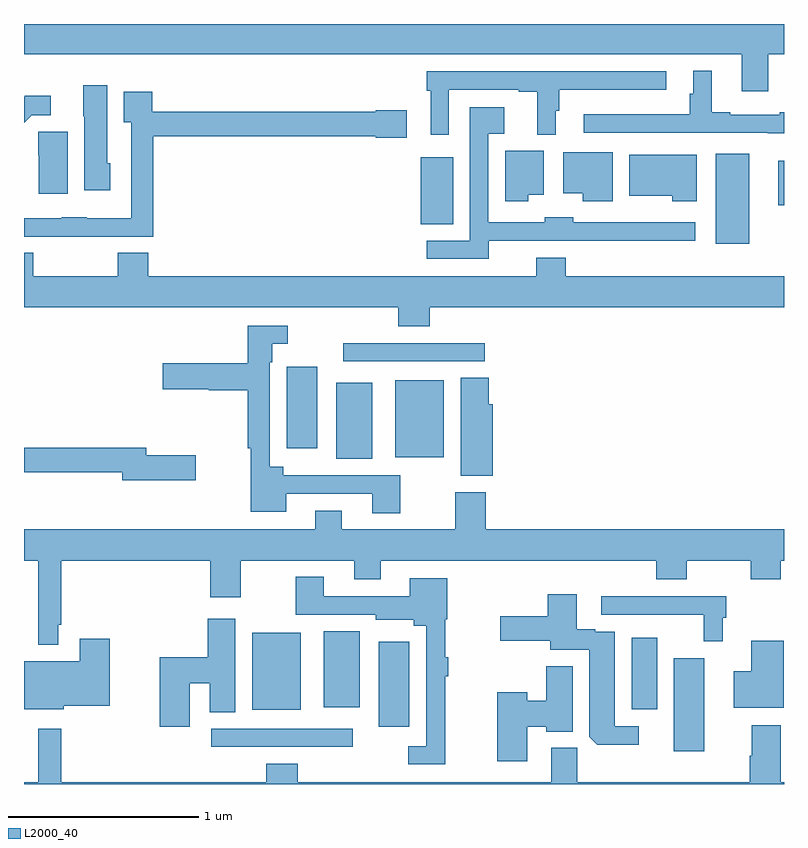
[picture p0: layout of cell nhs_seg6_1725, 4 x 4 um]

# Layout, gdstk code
import gdstk
lib = gdstk.Library(unit=1e-6, precision=1e-09)
def R(c, l, rs):  # rectangles x0, y0, x1, y1
    for r in rs: c.add(gdstk.rectangle(r[:2], r[2:], *l))
def P(c, l, *ps):  # polygons
    for p in ps: c.add(gdstk.Polygon(p, *l))
L2000_40 = (2000, 40)

nhs_seg6_1725 = lib.new_cell('nhs_seg6_1725')
R(nhs_seg6_1725, L2000_40, [(218.42,939.672,218.581,940.162), (215.985,939.696,216.73,939.792), (216.866,939.801,217.027,940.249), (216.2,939.89,216.457,940.297), (218.198,939.894,218.332,940.27), (216.578,939.905,216.766,940.303), (216.644,941.213,216.832,941.611), (216.953,941.219,217.21,941.626), (216.383,941.268,216.544,941.695), (216.681,941.724,217.426,941.82), (218.642,942.344,218.818,942.817), (217.088,942.445,217.258,942.799), (218.969,942.545,219,942.781)])
P(nhs_seg6_1725, L2000_40, [(218.917,943.34),(219,943.34),(219,943.5),(215,943.5),(215,943.34),(218.777,943.34),(218.777,943.146),(218.917,943.146)],
  [(219,943.036),(218.978,943.036),(218.978,943.023),(218.716,943.023),(218.716,943.036),(218.62,943.036),(218.62,943.255),(218.522,943.255),(218.522,943.134),(218.503,943.134),(218.503,943.024),(217.947,943.024),(217.947,942.927),(218.914,942.927),(218.914,942.926),(219,942.926)],
  [(217.236,943.155),(217.604,943.155),(217.604,943.143),(217.7,943.143),(217.7,942.918),(217.798,942.918),(217.798,943.044),(217.817,943.044),(217.817,943.154),(218.38,943.154),(218.38,943.251),(217.12,943.251),(217.12,943.148),(217.14,943.148),(217.14,942.918),(217.236,942.918)],
  [(215.455,942.768),(215.437,942.768),(215.437,943.177),(215.312,943.177),(215.312,943.014),(215.318,943.014),(215.318,942.624),(215.455,942.624)],
  [(215.431,942.381),(215.681,942.381),(215.681,942.91),(216.852,942.91),(216.852,942.902),(217.015,942.902),(217.015,943.047),(216.852,943.047),(216.852,943.039),(215.674,943.039),(215.674,943.144),(215.525,943.144),(215.525,942.983),(215.565,942.983),(215.565,942.478),(215.331,942.478),(215.331,942.484),(215.199,942.484),(215.199,942.477),(215,942.477),(215,942.381),(215.199,942.381),(215.199,942.38),(215.431,942.38)],
  [(215.04,943.02),(215.14,943.02),(215.14,943.123),(215.005,943.123),(215,943.118),(215,942.98)],
  [(217.446,942.359),(218.533,942.359),(218.533,942.457),(218.194,942.457),(218.194,942.456),(217.89,942.456),(217.89,942.484),(217.74,942.484),(217.74,942.456),(217.443,942.456),(217.443,942.923),(217.528,942.923),(217.528,943.063),(217.347,943.063),(217.347,942.36),(217.119,942.36),(217.119,942.264),(217.446,942.264)],
  [(215.23,942.933),(215.074,942.933),(215.074,942.81),(215.078,942.81),(215.078,942.606),(215.23,942.606)],
  [(217.654,942.602),(217.735,942.602),(217.735,942.832),(217.532,942.832),(217.532,942.566),(217.654,942.566)],
  [(218.098,942.826),(217.838,942.826),(217.838,942.608),(217.941,942.608),(217.941,942.566),(218.098,942.566)],
  [(218.542,942.811),(218.186,942.811),(218.186,942.596),(218.413,942.596),(218.413,942.566),(218.542,942.566)],
  [(216.971,941.909),(217.136,941.909),(217.136,942.008),(219,942.008),(219,942.172),(217.85,942.172),(217.85,942.271),(217.697,942.271),(217.697,942.172),(215.654,942.172),(215.654,942.296),(215.494,942.296),(215.494,942.172),(215.049,942.172),(215.049,942.296),(215,942.296),(215,942.008),(216.971,942.008)],
  [(216.981,941.124),(216.364,941.124),(216.364,941.17),(216.294,941.17),(216.294,941.72),(216.306,941.72),(216.306,941.817),(216.388,941.817),(216.388,941.913),(216.178,941.913),(216.178,941.715),(215.73,941.715),(215.73,941.578),(215.972,941.578),(215.972,941.573),(216.178,941.573),(216.178,941.266),(216.193,941.266),(216.193,940.934),(216.379,940.934),(216.379,941.028),(216.833,941.028),(216.833,940.926),(216.981,940.926)],
  [(217.466,941.499),(217.445,941.499),(217.445,941.639),(217.298,941.639),(217.298,941.123),(217.466,941.123)],
  [(215.905,941.229),(215.644,941.229),(215.644,941.27),(215,941.27),(215,941.142),(215.516,941.142),(215.516,941.099),(215.905,941.099)],
  [(215.179,940.339),(215.197,940.339),(215.197,940.676),(215.981,940.676),(215.981,940.482),(216.141,940.482),(216.141,940.676),(216.737,940.676),(216.737,940.577),(216.877,940.577),(216.877,940.676),(218.327,940.676),(218.327,940.577),(218.487,940.577),(218.487,940.676),(218.824,940.676),(218.824,940.577),(218.984,940.577),(218.984,940.676),(219,940.676),(219,940.84),(217.43,940.84),(217.43,941.035),(217.27,941.035),(217.27,940.84),(216.673,940.84),(216.673,940.939),(216.533,940.939),(216.533,940.84),(215,940.84),(215,940.676),(215.075,940.676),(215.075,940.232),(215.179,940.232)],
  [(217.217,940.068),(217.232,940.068),(217.232,940.168),(217.217,940.168),(217.217,940.368),(217.228,940.368),(217.228,940.582),(217.031,940.582),(217.031,940.488),(216.577,940.488),(216.577,940.591),(216.43,940.591),(216.43,940.392),(216.852,940.392),(216.852,940.364),(217.05,940.364),(217.05,940.334),(217.116,940.334),(217.116,939.699),(217.023,939.699),(217.023,939.603),(217.217,939.603)],
  [(218.236,939.804),(218.11,939.804),(218.11,940.302),(218.006,940.302),(218.006,940.315),(217.909,940.315),(217.909,940.498),(217.757,940.498),(217.757,940.383),(217.506,940.383),(217.506,940.253),(217.769,940.253),(217.769,940.206),(217.976,940.206),(217.976,939.748),(218.018,939.707),(218.236,939.707)],
  [(218.677,940.374),(218.696,940.374),(218.696,940.488),(218.037,940.488),(218.037,940.392),(218.578,940.392),(218.578,940.251),(218.677,940.251)],
  [(215.872,940.031),(215.978,940.031),(215.978,939.877),(216.112,939.877),(216.112,940.369),(215.966,940.369),(215.966,940.166),(215.714,940.166),(215.714,939.801),(215.872,939.801)],
  [(215.208,939.911),(215.452,939.911),(215.452,940.264),(215.294,940.264),(215.294,940.147),(215,940.147),(215,939.893),(215.208,939.893)],
  [(218.999,940.255),(218.828,940.255),(218.828,940.093),(218.735,940.093),(218.735,939.902),(218.999,939.902)],
  [(217.648,939.802),(217.748,939.802),(217.748,939.776),(217.888,939.776),(217.888,940.121),(217.748,940.121),(217.748,939.939),(217.648,939.939),(217.648,939.982),(217.49,939.982),(217.49,939.621),(217.648,939.621)],
  [(219,939.508),(218.984,939.508),(218.984,939.808),(218.831,939.808),(218.831,939.65),(218.819,939.65),(218.819,939.508),(217.913,939.508),(217.913,939.69),(217.775,939.69),(217.775,939.508),(216.44,939.508),(216.44,939.607),(216.275,939.607),(216.275,939.508),(215.197,939.508),(215.197,939.79),(215.075,939.79),(215.075,939.508),(215,939.508),(215,939.5),(219,939.5)])

lib.write_gds('nhs_seg6_1725.gds')
